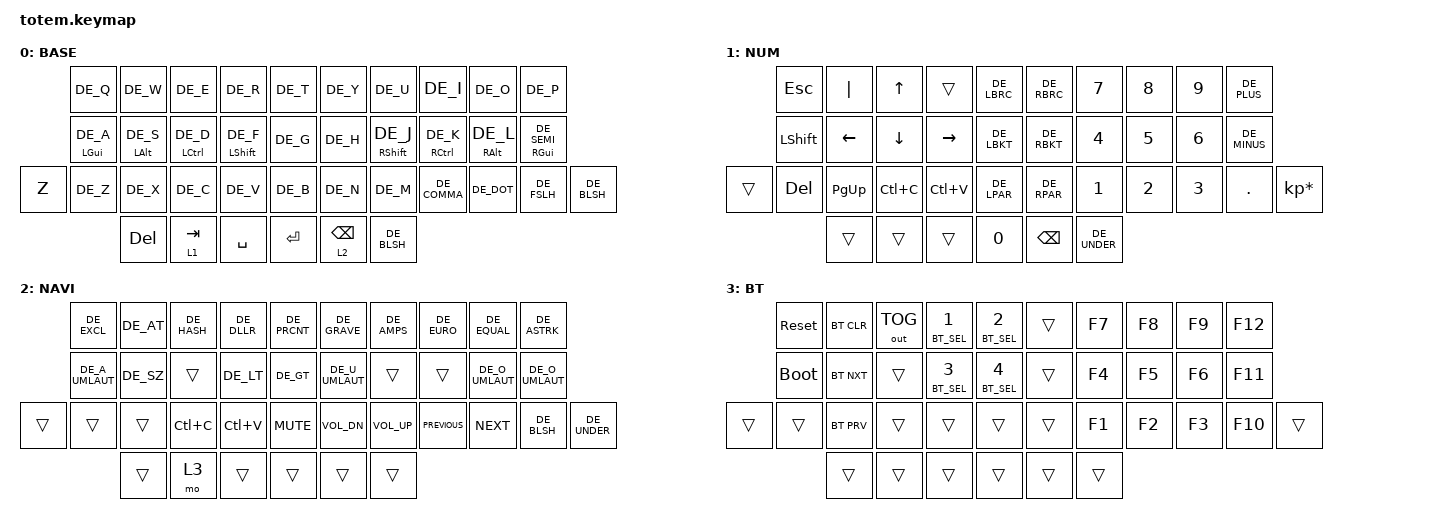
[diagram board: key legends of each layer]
//
//                                                        ▀▀▀▀▀     ▀▀▀▀▀          ▀▀█▀▀
//                                                        ▄▀▀▀▄  ▄  ▄▀▀▀▄  ▄  ▄▀▀▀▄  █  ▄▀▀▀▄
//                                                        █   █  █  █   █  █  █   █  █  █   █
//                                                         ▀▀▀   █   ▀▀▀   █   ▀▀▀   ▀   ▀▀▀
//                                                               █      ▄▄▄█▄▄▄    █   █  
//                                                               ▀      █  █  █     █▄█
//                                                             ▀▀▀▀▀    █  █  █      ▀
//                                                                      ▀  ▀  ▀
//
// ▄▄▄▄▄▄▄▄▄▄▄▄▄▄▄▄▄▄▄▄▄▄▄▄▄▄▄▄▄▄▄▄▄▄▄▄▄▄▄▄▄▄▄▄▄▄▄▄▄▄▄▄▄▄▄▄▄▄▄▄▄▄▄▄▄▄▄▄▄▄▄▄▄▄▄▄▄▄▄▄▄▄▄▄▄▄▄▄▄▄▄▄▄▄▄▄▄▄▄▄▄▄▄▄▄▄▄▄▄▄▄▄▄▄▄▄▄▄▄▄▄▄▄▄▄▄▄▄▄▄▄▄▄▄▄▄▄▄▄▄▄▄▄▄▄▄▄▄▄
       

#include <behaviors.dtsi>
#include <dt-bindings/zmk/keys.h>
#include <dt-bindings/zmk/bt.h>
#include <dt-bindings/zmk/outputs.h>
#include <keys_de.h>

#define BASE 0
#define NAV  1
#define SYM  2
#define BT  3

&mt {
  quick-tap-ms = <100>;
  global-quick-tap;
  flavor = "tap-preferred";
  tapping-term-ms = <170>;
};

/ {
    chosen {
          zmk,battery = &vbatt;
    };

    vbatt: vbatt {
            compatible = "zmk,battery-nrf-vddh";
            label = "VBATT";
    };

    combos {
/* Top corners (Q+P) = bootloader */
        combo_boot {
            key-positions = <0 9>;
            bindings = <&bootloader>;
        };
       
       combo_esc {
            timeout-ms = <50>;
            key-positions = <0 1>;
            bindings = <&kp ESC>;
       };
       combo_caps {
            timeout-ms = <50>;
            key-positions = <10 19>;
            bindings = <&caps_word>;
       };
       combo_singlequote {
            timeout-ms = <75>;
            key-positions = <7 8>;
            bindings = <&kp DE_SQT>;
       };
       combo_doublequote {
            timeout-ms = <75>;
            key-positions = <8 9>;
            bindings = <&kp DE_DQT>;
       };
       combo_minus {
            timeout-ms = <50>;
            key-positions = <17 18>;
            bindings = <&kp MINUS>;
       };
       combo_plus {
            timeout-ms = <50>;
            key-positions = <16 17>;
            bindings = <&kp PLUS>;
       };
       combo_equal {
            timeout-ms = <50>;
            key-positions = <27 28>;
            bindings = <&kp EQUAL>;
       };
       combo_underscore {
            timeout-ms = <50>;
            key-positions = <16 17 18>;
            bindings = <&kp DE_UNDER>;
       };
        combo_worddelete {
            timeout-ms = <50>;
            key-positions = <18 19>;
            bindings = <&kp LC(BSPC)>;
       };
        combo_questionmark {
            timeout-ms = <50>;
            key-positions = <28 29>;
            bindings = <&kp DE_QMARK>;
       };
    };

    macros {
/*         gif: gif {
            label = "giphy";
            compatible = "zmk,behavior-macro";
            #binding-cells = <0>;
            bindings
                = <&macro_press &kp LSHFT>
                , <&macro_tap &kp N2>
                , <&macro_release &kp LSHFT>
                , <&macro_tap &kp G &kp I &kp F>
                ;
        }; */
    };

    behaviors {
        hl: homerow_mods_left {
            compatible = "zmk,behavior-hold-tap";
            label = "homerow mods left";
            #binding-cells = <2>;
            //flavor = "hold-preferred";
            // flavor = "tap-preferred";
            flavor = "balanced";
            tapping-term-ms = <160>;
            //quick-tap-ms = <100>;
            //hold-while-undecided;
            // global-quick-tap;
            bindings = <&kp>, <&kp>;
            // opposite side hand keys
            hold-trigger-key-positions = <5 6 7 8 9 15 16 17 18 19 25 26 27 28 29 30 31 32 33 34 35>;
        };
        hr: homerow_mods_right {
            compatible = "zmk,behavior-hold-tap";
            label = "homerow mods right";
            #binding-cells = <2>;
            //flavor = "hold-preferred";
            // flavor = "tap-preferred";
            flavor = "balanced";
            tapping-term-ms = <160>;
            //hold-while-undecided;
            //quick-tap-ms = <100>;
            // global-quick-tap;
            bindings = <&kp>, <&kp>;
            // opposite side hand keys
            hold-trigger-key-positions = <0 1 2 3 4 10 11 12 13 14 20 21 22 23 24 30 31 32 33 34 35>;
        };
    };

        keymap {
                compatible = "zmk,keymap";
// ▄▄▄▄▄▄▄▄▄▄▄▄▄▄▄▄▄▄▄▄▄▄▄▄▄▄▄▄▄▄▄▄▄▄▄▄▄▄▄▄▄▄▄▄▄▄▄▄▄▄▄▄▄▄▄▄▄▄▄▄▄▄▄▄▄▄▄▄▄▄▄▄▄▄▄▄▄▄▄▄▄▄▄▄▄▄▄▄▄▄▄▄▄▄▄▄▄▄▄▄▄▄▄▄▄▄▄▄▄▄▄▄▄▄▄▄▄▄▄▄▄▄▄▄▄▄▄▄▄▄▄▄▄▄▄▄▄▄▄▄▄▄▄▄▄▄▄▄▄

                base_layer {
// ┏━━━━━━━━━━━━━━━━━━━━━━━━━━━━━━━━━━━━━━━┓
label= "BASE"                              ;
// ┗━━━━━━━━━━━━━━━━━━━━━━━━━━━━━━━━━━━━━━━┛
//             ┏━━━━━━━━━━━┳━━━━━━━━━━━┳━━━━━━━━━━━┳━━━━━━━━━━━┳━━━━━━━━━━━┓   ┏━━━━━━━━━━━┳━━━━━━━━━━━┳━━━━━━━━━━━┳━━━━━━━━━━━┳━━━━━━━━━━━┓
//             ┃     Q     ┃     W     ┃     E     ┃     R     ┃     T     ┃   ┃     Y     ┃     U     ┃     I     ┃     O     ┃     P     ┃
//             ┣━━━━━━━━━━━╋━━━━━━━━━━━╋━━━━━━━━━━━╋━━━━━━━━━━━╋━━━━━━━━━━━┫   ┣━━━━━━━━━━━╋━━━━━━━━━━━╋━━━━━━━━━━━╋━━━━━━━━━━━╋━━━━━━━━━━━┫
//             ┃     A     ┃     S     ┃     D     ┃     F     ┃     G     ┃   ┃     H     ┃     J     ┃     K     ┃     L     ┃     ;     ┃
// ┏━━━━━━━━━━━╋━━━━━━━━━━━╋━━━━━━━━━━━╋━━━━━━━━━━━╋━━━━━━━━━━━╋━━━━━━━━━━━┫   ┣━━━━━━━━━━━╋━━━━━━━━━━━╋━━━━━━━━━━━╋━━━━━━━━━━━╋━━━━━━━━━━━╋━━━━━━━━━━━┓
// ┃           ┃     Z     ┃     X     ┃     C     ┃     V     ┃     B     ┃   ┃     N     ┃     M     ┃     ,     ┃     .     ┃     /     ┃     \     ┃
// ┗━━━━━━━━━━━┻━━━━━━━━━━━┻━━━━━━━━━━━╋━━━━━━━━━━━╋━━━━━━━━━━━╋━━━━━━━━━━━┫   ┣━━━━━━━━━━━╋━━━━━━━━━━━╋━━━━━━━━━━━╋━━━━━━━━━━━┻━━━━━━━━━━━┻━━━━━━━━━━━┛
//                                     ┃    DEL    ┃    TAB    ┃    SPC    ┃   ┃   ENTER   ┃   BSPC    ┃     \     ┃
//                                     ┗━━━━━━━━━━━┻━━━━━━━━━━━┻━━━━━━━━━━━┛   ┗━━━━━━━━━━━┻━━━━━━━━━━━┻━━━━━━━━━━━┛
 bindings = <
// ╷           ╷                ╷               ╷               ╷               ╷           ╷   ╷               ╷               ╷               ╷               ╷               ╷           ╷

                &kp DE_Q        &kp DE_W        &kp DE_E        &kp DE_R        &kp DE_T        &kp DE_Y        &kp DE_U        &kp DE_I        &kp DE_O        &kp DE_P
                &hl LGUI DE_A   &hl LALT DE_S   &hl LCTRL DE_D  &hl LSHFT DE_F  &kp DE_G        &kp DE_H        &hr RSHFT DE_J  &hr RCTRL DE_K  &hr RALT DE_L   &hr RGUI DE_SEMI
    &kp Z       &kp DE_Z        &kp DE_X        &kp DE_C        &kp DE_V        &kp DE_B        &kp DE_N        &kp DE_M        &kp DE_COMMA    &kp DE_DOT      &kp DE_FSLH     &kp DE_BLSH
                                &kp DEL         &lt 1 TAB       &kp SPACE       &kp ENTER       &lt 2 BSPC      &kp DE_BLSH
                        >;
                };

// ▄▄▄▄▄▄▄▄▄▄▄▄▄▄▄▄▄▄▄▄▄▄▄▄▄▄▄▄▄▄▄▄▄▄▄▄▄▄▄▄▄▄▄▄▄▄▄▄▄▄▄▄▄▄▄▄▄▄▄▄▄▄▄▄▄▄▄▄▄▄▄▄▄▄▄▄▄▄▄▄▄▄▄▄▄▄▄▄▄▄▄▄▄▄▄▄▄▄▄▄▄▄▄▄▄▄▄▄▄▄▄▄▄▄▄▄▄▄▄▄▄▄▄▄▄▄▄▄▄▄▄▄▄▄▄▄▄▄▄▄▄▄▄▄▄▄▄▄▄


                NUM_layer {
// ┏━━━━━━━━━━━━━━━━━━━━━━━━━━━━━━━━━━━━━━━┓
label= "NUM"                               ;
// ┗━━━━━━━━━━━━━━━━━━━━━━━━━━━━━━━━━━━━━━━┛
//             ┏━━━━━━━━━━━┳━━━━━━━━━━━┳━━━━━━━━━━━┳━━━━━━━━━━━┳━━━━━━━━━━━┓   ┏━━━━━━━━━━━┳━━━━━━━━━━━┳━━━━━━━━━━━┳━━━━━━━━━━━┳━━━━━━━━━━━┓
//             ┃    ESC    ┃     |     ┃    UP     ┃           ┃     {     ┃   ┃     }     ┃     7     ┃     8     ┃     9     ┃     +     ┃
//             ┣━━━━━━━━━━━╋━━━━━━━━━━━╋━━━━━━━━━━━╋━━━━━━━━━━━╋━━━━━━━━━━━┫   ┣━━━━━━━━━━━╋━━━━━━━━━━━╋━━━━━━━━━━━╋━━━━━━━━━━━╋━━━━━━━━━━━┫
//             ┃   LSHFT   ┃   LEFT    ┃    DOWN   ┃   RIGHT   ┃     [     ┃   ┃     ]     ┃     4     ┃     5     ┃     6     ┃     -     ┃
// ┏━━━━━━━━━━━╋━━━━━━━━━━━╋━━━━━━━━━━━╋━━━━━━━━━━━╋━━━━━━━━━━━╋━━━━━━━━━━━┫   ┣━━━━━━━━━━━╋━━━━━━━━━━━╋━━━━━━━━━━━╋━━━━━━━━━━━╋━━━━━━━━━━━╋━━━━━━━━━━━┓
// ┃           ┃    DEL    ┃  EMAIL2   ┃   Copy    ┃   Paste   ┃     (     ┃   ┃     )     ┃     1     ┃     2     ┃     3     ┃     .     ┃     *     ┃
// ┗━━━━━━━━━━━┻━━━━━━━━━━━┻━━━━━━━━━━━╋━━━━━━━━━━━╋━━━━━━━━━━━╋━━━━━━━━━━━┫   ┣━━━━━━━━━━━╋━━━━━━━━━━━╋━━━━━━━━━━━╋━━━━━━━━━━━┻━━━━━━━━━━━┻━━━━━━━━━━━┛
//                                     ┃           ┃    GIF    ┃    ADJ    ┃   ┃     0     ┃   BSPC    ┃     _     ┃
//                                     ┗━━━━━━━━━━━┻━━━━━━━━━━━┻━━━━━━━━━━━┛   ┗━━━━━━━━━━━┻━━━━━━━━━━━┻━━━━━━━━━━━┛
 bindings = <
// ╷           ╷           ╷           ╷           ╷           ╷           ╷   ╷           ╷           ╷           ╷           ╷           ╷           ╷

                &kp ESC     &kp PIPE    &kp UP      &trans      &kp DE_LBRC     &kp DE_RBRC  &kp N7    &kp N8       &kp N9     &kp DE_PLUS       
                &kp LSHFT   &kp LEFT    &kp DOWN    &kp RIGHT   &kp DE_LBKT     &kp DE_RBKT  &kp N4    &kp N5       &kp N6     &kp DE_MINUS 
    &trans      &kp DEL     &kp PG_UP   &kp LC(C)   &kp LC(V)   &kp DE_LPAR     &kp DE_RPAR  &kp N1    &kp N2       &kp N3     &kp DOT      &kp KP_MULTIPLY         
                                         &trans     &trans      &trans          &kp N0       &kp BSPC  &kp DE_UNDER      
                        >;
                };

// ▄▄▄▄▄▄▄▄▄▄▄▄▄▄▄▄▄▄▄▄▄▄▄▄▄▄▄▄▄▄▄▄▄▄▄▄▄▄▄▄▄▄▄▄▄▄▄▄▄▄▄▄▄▄▄▄▄▄▄▄▄▄▄▄▄▄▄▄▄▄▄▄▄▄▄▄▄▄▄▄▄▄▄▄▄▄▄▄▄▄▄▄▄▄▄▄▄▄▄▄▄▄▄▄▄▄▄▄▄▄▄▄▄▄▄▄▄▄▄▄▄▄▄▄▄▄▄▄▄▄▄▄▄▄▄▄▄▄▄▄▄▄▄▄▄▄▄▄▄

                nav_layer {
// ┏━━━━━━━━━━━━━━━━━━━━━━━━━━━━━━━━━━━━━━━┓
label= "NAVI"                              ;
// ┗━━━━━━━━━━━━━━━━━━━━━━━━━━━━━━━━━━━━━━━┛
//             ┏━━━━━━━━━━━┳━━━━━━━━━━━┳━━━━━━━━━━━┳━━━━━━━━━━━┳━━━━━━━━━━━┓   ┏━━━━━━━━━━━┳━━━━━━━━━━━┳━━━━━━━━━━━┳━━━━━━━━━━━┳━━━━━━━━━━━┓
//             ┃           ┃           ┃     UP    ┃           ┃     {     ┃   ┃     }     ┃     7     ┃     8     ┃     9     ┃     +     ┃
//             ┣━━━━━━━━━━━╋━━━━━━━━━━━╋━━━━━━━━━━━╋━━━━━━━━━━━╋━━━━━━━━━━━┫   ┣━━━━━━━━━━━╋━━━━━━━━━━━╋━━━━━━━━━━━╋━━━━━━━━━━━╋━━━━━━━━━━━┫
//             ┃   SHIFT   ┃   LEFT    ┃    DOWN   ┃   RIGHT   ┃     [     ┃   ┃     ]     ┃     4     ┃     5     ┃     6     ┃     -     ┃
// ┏━━━━━━━━━━━╋━━━━━━━━━━━╋━━━━━━━━━━━╋━━━━━━━━━━━╋━━━━━━━━━━━╋━━━━━━━━━━━┫   ┣━━━━━━━━━━━╋━━━━━━━━━━━╋━━━━━━━━━━━╋━━━━━━━━━━━╋━━━━━━━━━━━╋━━━━━━━━━━━┓
// ┃           ┃           ┃   P UP    ┃  C LOCK   ┃  P DOWN   ┃     (     ┃   ┃     )     ┃     1     ┃     2     ┃     3     ┃     *     ┃           ┃
// ┗━━━━━━━━━━━┻━━━━━━━━━━━┻━━━━━━━━━━━╋━━━━━━━━━━━╋━━━━━━━━━━━╋━━━━━━━━━━━┫   ┣━━━━━━━━━━━╋━━━━━━━━━━━╋━━━━━━━━━━━╋━━━━━━━━━━━┻━━━━━━━━━━━┻━━━━━━━━━━━┛
//                                     ┃           ┃    TAB    ┃    SPC    ┃   ┃    DEL    ┃     0     ┃           ┃
//                                     ┗━━━━━━━━━━━┻━━━━━━━━━━━┻━━━━━━━━━━━┛   ┗━━━━━━━━━━━┻━━━━━━━━━━━┻━━━━━━━━━━━┛
 bindings = <
// ╷           ╷                ╷           ╷           ╷           ╷           ╷   ╷                   ╷           ╷                   ╷               ╷           ╷           ╷

                &kp DE_EXCL     &kp DE_AT   &kp DE_HASH &kp DE_DLLR  &kp DE_PRCNT    &kp DE_GRAVE       &kp DE_AMPS  &kp DE_EURO        &kp DE_EQUAL    &kp DE_ASTRK
                &kp DE_A_UMLAUT &kp DE_SZ   &trans      &kp DE_LT    &kp DE_GT       &kp DE_U_UMLAUT    &trans       &trans             &kp DE_O_UMLAUT &kp DE_O_UMLAUT
    &trans      &trans          &trans      &kp LC(C)   &kp LC(V)    &kp C_MUTE      &kp C_VOL_DN       &kp C_VOL_UP &kp C_PREVIOUS     &kp C_NEXT      &kp DE_BLSH      &kp DE_UNDER      
                                             &trans     &mo 3        &trans          &trans             &trans       &trans      
                        >;
                };


// ▄▄▄▄▄▄▄▄▄▄▄▄▄▄▄▄▄▄▄▄▄▄▄▄▄▄▄▄▄▄▄▄▄▄▄▄▄▄▄▄▄▄▄▄▄▄▄▄▄▄▄▄▄▄▄▄▄▄▄▄▄▄▄▄▄▄▄▄▄▄▄▄▄▄▄▄▄▄▄▄▄▄▄▄▄▄▄▄▄▄▄▄▄▄▄▄▄▄▄▄▄▄▄▄▄▄▄▄▄▄▄▄▄▄▄▄▄▄▄▄▄▄▄▄▄▄▄▄▄▄▄▄▄▄▄▄▄▄▄▄▄▄▄▄▄▄▄▄▄


                BT_layer {
// ┏━━━━━━━━━━━━━━━━━━━━━━━━━━━━━━━━━━━━━━━┓
label= "BT"                               ;
// ┗━━━━━━━━━━━━━━━━━━━━━━━━━━━━━━━━━━━━━━━┛
//             ┏━━━━━━━━━━━┳━━━━━━━━━━━┳━━━━━━━━━━━┳━━━━━━━━━━━┳━━━━━━━━━━━┓   ┏━━━━━━━━━━━┳━━━━━━━━━━━┳━━━━━━━━━━━┳━━━━━━━━━━━┳━━━━━━━━━━━┓
//             ┃   RESET   ┃ BT CLEAR  ┃  OUT TOG  ┃ Profile1  ┃ Profile2  ┃   ┃           ┃    F7     ┃    F8     ┃    F9     ┃    F12    ┃
//             ┣━━━━━━━━━━━╋━━━━━━━━━━━╋━━━━━━━━━━━╋━━━━━━━━━━━╋━━━━━━━━━━━┫   ┣━━━━━━━━━━━╋━━━━━━━━━━━╋━━━━━━━━━━━╋━━━━━━━━━━━╋━━━━━━━━━━━┫
//             ┃ BOOTLOAD  ┃ BT NEXT   ┃           ┃ Profile3  ┃ Profile4  ┃   ┃           ┃    F4     ┃    F5     ┃    F6     ┃    F11    ┃
// ┏━━━━━━━━━━━╋━━━━━━━━━━━╋━━━━━━━━━━━╋━━━━━━━━━━━╋━━━━━━━━━━━╋━━━━━━━━━━━┫   ┣━━━━━━━━━━━╋━━━━━━━━━━━╋━━━━━━━━━━━╋━━━━━━━━━━━╋━━━━━━━━━━━╋━━━━━━━━━━━┓
// ┃           ┃           ┃ BT PREV   ┃           ┃           ┃           ┃   ┃           ┃    F1     ┃    F2     ┃    F3     ┃    F10    ┃           ┃
// ┗━━━━━━━━━━━┻━━━━━━━━━━━┻━━━━━━━━━━━╋━━━━━━━━━━━╋━━━━━━━━━━━╋━━━━━━━━━━━┫   ┣━━━━━━━━━━━╋━━━━━━━━━━━╋━━━━━━━━━━━╋━━━━━━━━━━━┻━━━━━━━━━━━┻━━━━━━━━━━━┛
//                                     ┃           ┃           ┃           ┃   ┃           ┃           ┃           ┃
//                                     ┗━━━━━━━━━━━┻━━━━━━━━━━━┻━━━━━━━━━━━┛   ┗━━━━━━━━━━━┻━━━━━━━━━━━┻━━━━━━━━━━━┛
 bindings = <
// ╷           ╷           ╷           ╷           ╷           ╷           ╷   ╷           ╷           ╷           ╷           ╷           ╷           ╷

                &sys_reset  &bt BT_CLR &out OUT_TOG &BT_SEL 1   &BT_SEL 2       &trans      &kp F7      &kp F8      &kp F9      &kp F12
                &bootloader &bt BT_NXT  &trans      &BT_SEL 3   &BT_SEL 4       &trans      &kp F4      &kp F5      &kp F6      &kp F11  
    &trans      &trans      &bt BT_PRV  &trans      &trans      &trans          &trans      &kp F1      &kp F2      &kp F3      &kp F10     &trans         
                                        &trans      &trans      &trans          &trans      &trans      &trans      
                        >;
                };
        };
};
